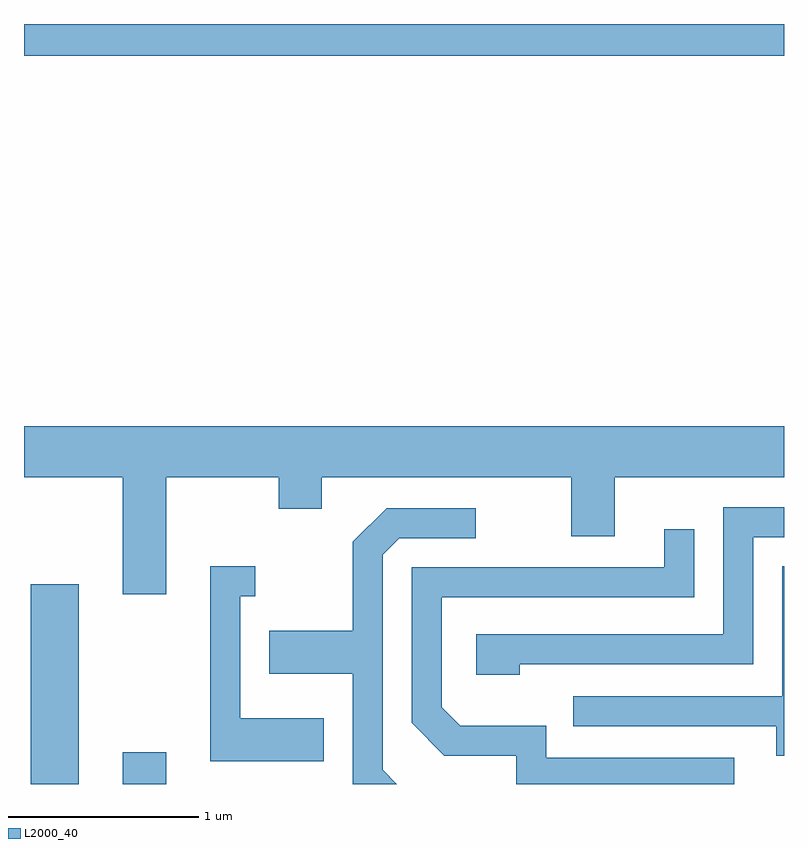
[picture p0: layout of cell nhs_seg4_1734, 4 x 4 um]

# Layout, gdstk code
import gdstk
lib = gdstk.Library(unit=1e-6, precision=1e-09)
def R(c, l, rs):  # rectangles x0, y0, x1, y1
    for r in rs: c.add(gdstk.rectangle(r[:2], r[2:], *l))
def P(c, l, *ps):  # polygons
    for p in ps: c.add(gdstk.Polygon(p, *l))
L2000_40 = (2000, 40)

nhs_seg4_1734 = lib.new_cell('nhs_seg4_1734')
R(nhs_seg4_1734, L2000_40, [(235.646,1321.982,235.899,1323.034), (236.131,1321.982,236.359,1322.149), (235.611,1325.816,239.611,1325.982)])
P(nhs_seg4_1734, L2000_40, [(236.359,1323.596),(236.951,1323.596),(236.951,1323.431),(237.179,1323.431),(237.179,1323.596),(238.491,1323.596),(238.491,1323.286),(238.719,1323.286),(238.719,1323.596),(239.611,1323.596),(239.611,1323.864),(235.611,1323.864),(235.611,1323.596),(236.131,1323.596),(236.131,1322.981),(236.359,1322.981)],
  [(238.219,1322.611),(239.449,1322.611),(239.449,1323.281),(239.611,1323.281),(239.611,1323.439),(239.291,1323.439),(239.291,1322.769),(237.991,1322.769),(237.991,1322.556),(238.219,1322.556)],
  [(237.499,1322.057),(237.499,1323.189),(237.587,1323.276),(237.988,1323.276),(237.988,1323.434),(237.519,1323.434),(237.341,1323.257),(237.341,1322.789),(236.901,1322.789),(236.901,1322.561),(237.341,1322.561),(237.341,1321.982),(237.574,1321.982)],
  [(239.349,1322.119),(238.359,1322.119),(238.359,1322.289),(237.907,1322.289),(237.809,1322.387),(237.809,1322.966),(239.139,1322.966),(239.139,1323.323),(238.981,1323.323),(238.981,1323.124),(237.651,1323.124),(237.651,1322.304),(237.824,1322.131),(238.201,1322.131),(238.201,1321.982),(239.349,1321.982)],
  [(239.611,1323.129),(239.601,1323.129),(239.601,1322.444),(238.503,1322.444),(238.503,1322.286),(239.571,1322.286),(239.571,1322.131),(239.611,1322.131)],
  [(237.189,1322.329),(236.749,1322.329),(236.749,1322.971),(236.828,1322.971),(236.828,1323.129),(236.591,1323.129),(236.591,1322.101),(237.189,1322.101)])

lib.write_gds('nhs_seg4_1734.gds')
